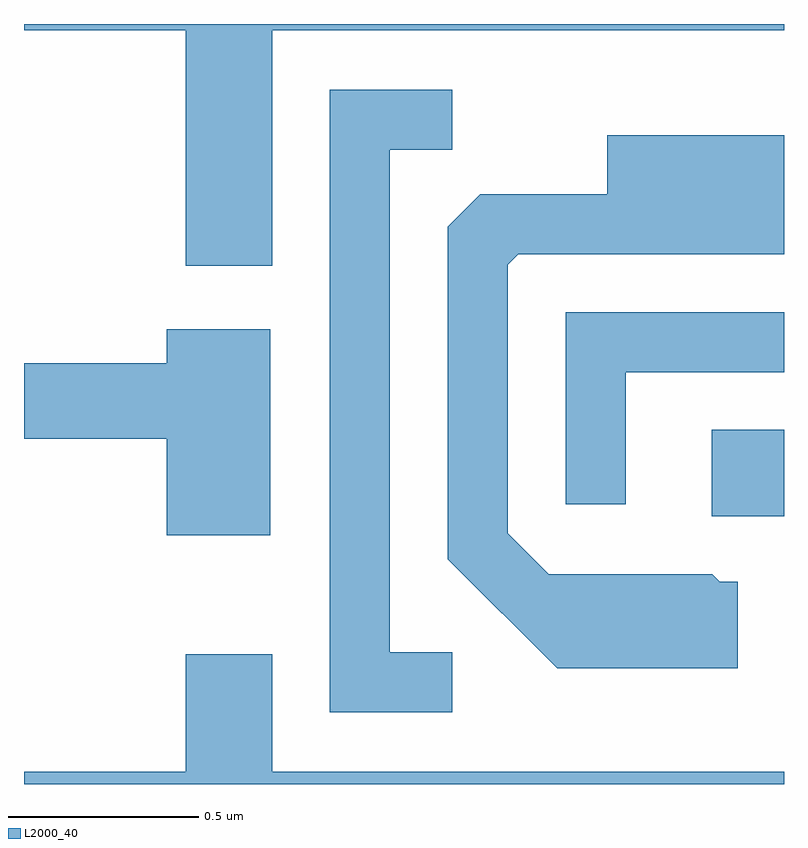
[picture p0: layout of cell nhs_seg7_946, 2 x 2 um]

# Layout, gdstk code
import gdstk
lib = gdstk.Library(unit=1e-6, precision=1e-09)
def R(c, l, rs):  # rectangles x0, y0, x1, y1
    for r in rs: c.add(gdstk.rectangle(r[:2], r[2:], *l))
def P(c, l, *ps):  # polygons
    for p in ps: c.add(gdstk.Polygon(p, *l))
L2000_40 = (2000, 40)

nhs_seg7_946 = lib.new_cell('nhs_seg7_946')
R(nhs_seg7_946, L2000_40, [(193.421,1792.956,193.611,1793.184)])
P(nhs_seg7_946, L2000_40, [(192.264,1794.236),(193.611,1794.236),(193.611,1794.252),(191.611,1794.252),(191.611,1794.236),(192.036,1794.236),(192.036,1793.616),(192.264,1793.616)],
  [(192.738,1792.599),(192.574,1792.599),(192.574,1793.921),(192.738,1793.921),(192.738,1794.079),(192.416,1794.079),(192.416,1792.441),(192.738,1792.441)],
  [(193.489,1792.784),(193.442,1792.784),(193.422,1792.804),(192.992,1792.804),(192.884,1792.912),(192.884,1793.619),(192.912,1793.646),(193.611,1793.646),(193.611,1793.959),(193.146,1793.959),(193.146,1793.804),(192.812,1793.804),(192.726,1793.719),(192.726,1792.844),(193.014,1792.556),(193.489,1792.556)],
  [(193.194,1793.336),(193.611,1793.336),(193.611,1793.494),(193.036,1793.494),(193.036,1792.988),(193.194,1792.988)],
  [(192.259,1793.449),(191.986,1793.449),(191.986,1793.359),(191.611,1793.359),(191.611,1793.161),(191.986,1793.161),(191.986,1792.906),(192.259,1792.906)],
  [(193.611,1792.284),(192.264,1792.284),(192.264,1792.594),(192.036,1792.594),(192.036,1792.284),(191.611,1792.284),(191.611,1792.252),(193.611,1792.252)])

lib.write_gds('nhs_seg7_946.gds')
